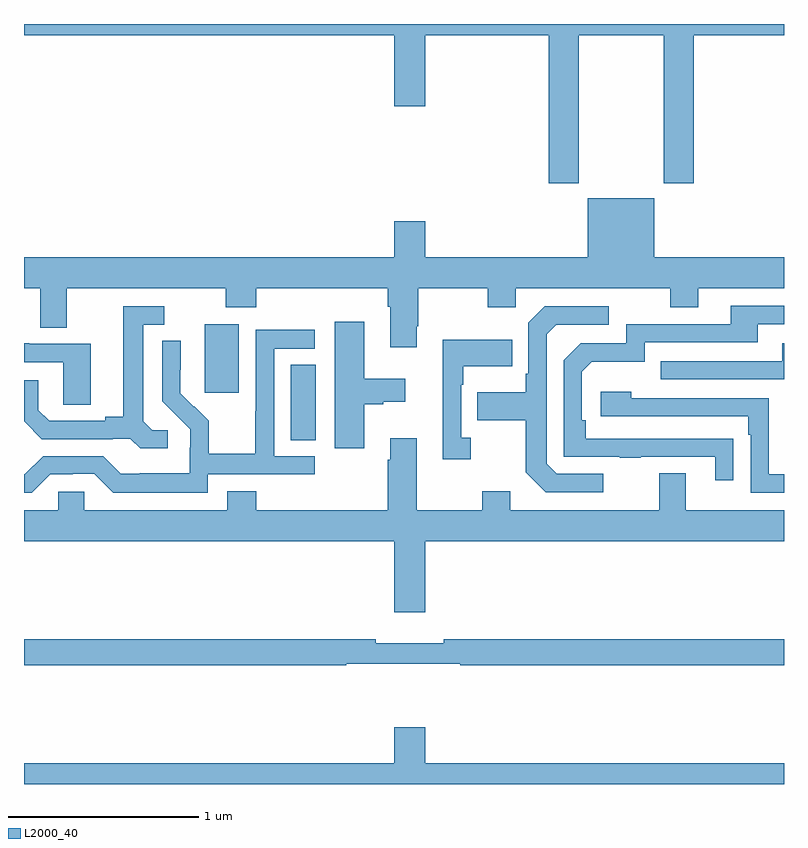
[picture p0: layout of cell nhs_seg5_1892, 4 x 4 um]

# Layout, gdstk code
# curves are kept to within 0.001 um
import gdstk
lib = gdstk.Library(unit=1e-6, precision=1e-09)
def R(c, l, rs):  # rectangles x0, y0, x1, y1
    for r in rs: c.add(gdstk.rectangle(r[:2], r[2:], *l))
def P(c, l, *ps):  # polygons
    for p in ps: c.add(gdstk.Polygon(p, *l))
L2000_40 = (2000, 40)

nhs_seg5_1892 = lib.new_cell('nhs_seg5_1892')
R(nhs_seg5_1892, L2000_40, [(224.405,874.609,224.536,875.006), (223.952,874.857,224.131,875.218)])
P(nhs_seg5_1892, L2000_40, [(225.921,876.74),(226.366,876.74),(226.366,875.961),(226.526,875.961),(226.526,876.74),(227,876.74),(227,876.799),(223,876.799),(223,876.74),(224.948,876.74),(224.948,876.366),(225.112,876.366),(225.112,876.74),(225.761,876.74),(225.761,875.961),(225.921,875.961)],
  [(225.067,875.209),(225.075,875.209),(225.075,875.408),(225.442,875.408),(225.442,875.309),(225.588,875.309),(225.588,875.408),(226.402,875.408),(226.402,875.309),(226.549,875.309),(226.549,875.408),(227,875.408),(227,875.572),(226.318,875.572),(226.318,875.881),(225.968,875.881),(225.968,875.572),(225.112,875.572),(225.112,875.761),(224.948,875.761),(224.948,875.572),(223,875.572),(223,875.408),(223.085,875.408),(223.085,875.2),(223.225,875.2),(223.225,875.408),(224.062,875.408),(224.062,875.309),(224.222,875.309),(224.222,875.408),(224.915,875.408),(224.915,875.312),(224.927,875.312),(224.927,875.097),(225.067,875.097)],
  [(226.733,874.616),(225.956,874.617),(225.956,874.714),(225.936,874.714),(225.936,874.968),(225.989,875.021),(226.266,875.021),(226.266,875.124),(226.861,875.124),(226.861,875.22),(227,875.22),(227,875.316),(226.721,875.316),(226.721,875.22),(226.17,875.22),(226.17,875.118),(225.93,875.118),(225.84,875.028),(225.84,874.521),(226.135,874.521),(226.135,874.516),(226.247,874.516),(226.247,874.521),(226.637,874.521),(226.637,874.398),(226.733,874.398)],
  [(226.048,874.431),(225.804,874.431),(225.75,874.485),(225.75,875.166),(225.801,875.217),(226.078,875.217),(226.078,875.313),(225.741,875.313),(225.654,875.226),(225.654,874.957),(225.642,874.957),(225.642,874.861),(225.385,874.861),(225.385,874.714),(225.642,874.714),(225.642,874.441),(225.747,874.335),(226.048,874.335)],
  [(223.756,874.662),(223.674,874.662),(223.627,874.709),(223.627,875.217),(223.738,875.217),(223.738,875.313),(223.523,875.313),(223.523,874.733),(223.427,874.733),(223.427,874.71),(223.132,874.71),(223.075,874.767),(223.075,874.924),(223,874.924),(223,874.708),(223.094,874.614),(223.466,874.614),(223.466,874.617),(223.56,874.617),(223.612,874.565),(223.756,874.565)],
  [(224.791,874.799),(224.891,874.799),(224.891,874.811),(225.007,874.811),(225.007,874.933),(224.791,874.933),(224.791,875.233),(224.636,875.233),(224.636,874.566),(224.791,874.566)],
  [(223.968,874.428),(224.53,874.428),(224.53,874.524),(224.316,874.524),(224.316,875.091),(224.53,875.091),(224.53,875.19),(224.22,875.19),(224.22,874.76),(224.218,874.76),(224.218,874.537),(223.973,874.537),(223.973,874.711),(223.896,874.788),(223.893,874.785),(223.823,874.856),(223.824,875.132),(223.728,875.132),(223.728,874.814),(223.874,874.666),(223.874,874.569),(223.872,874.569),(223.872,874.435),(223.609,874.435),(223.609,874.431),(223.509,874.431),(223.416,874.524),(223.101,874.524),(223.005,874.428),(223,874.428),(223,874.332),(223.041,874.332),(223.137,874.428),(223.256,874.428),(223.256,874.431),(223.371,874.431),(223.471,874.331),(223.968,874.331)],
  [(225.352,874.622),(225.3,874.622),(225.3,874.901),(225.313,874.901),(225.313,874.997),(225.569,874.997),(225.569,875.137),(225.203,875.137),(225.203,874.509),(225.352,874.509)],
  [(223.351,875.115),(223.027,875.115),(223.027,875.119),(223,875.119),(223,875.019),(223.206,875.019),(223.206,874.795),(223.351,874.795)],
  [(227,875.119),(226.991,875.119),(226.991,875.025),(226.351,875.025),(226.351,874.929),(227,874.929)],
  [(227,874.428),(226.92,874.428),(226.92,874.83),(226.196,874.83),(226.196,874.864),(226.035,874.864),(226.035,874.734),(226.811,874.734),(226.811,874.637),(226.824,874.637),(226.824,874.332),(227,874.332)],
  [(225.112,874.076),(227,874.076),(227,874.24),(226.483,874.24),(226.483,874.435),(226.343,874.435),(226.343,874.24),(225.559,874.24),(225.559,874.339),(225.412,874.339),(225.412,874.24),(225.067,874.24),(225.067,874.618),(224.927,874.618),(224.927,874.505),(224.915,874.505),(224.915,874.24),(224.222,874.24),(224.222,874.339),(224.069,874.339),(224.069,874.24),(223.317,874.24),(223.317,874.338),(223.179,874.338),(223.179,874.24),(223,874.24),(223,874.076),(224.948,874.076),(224.948,873.702),(225.112,873.702)],
  [(224.696,873.432),(225.296,873.432),(225.296,873.424),(227,873.424),(227,873.56),(225.208,873.56),(225.208,873.541),(224.852,873.541),(224.852,873.56),(223,873.56),(223,873.424),(224.696,873.424)],
  [(227,872.908),(225.112,872.908),(225.112,873.097),(224.948,873.097),(224.948,872.908),(223,872.908),(223,872.799),(227,872.799)])

lib.write_gds('nhs_seg5_1892.gds')
